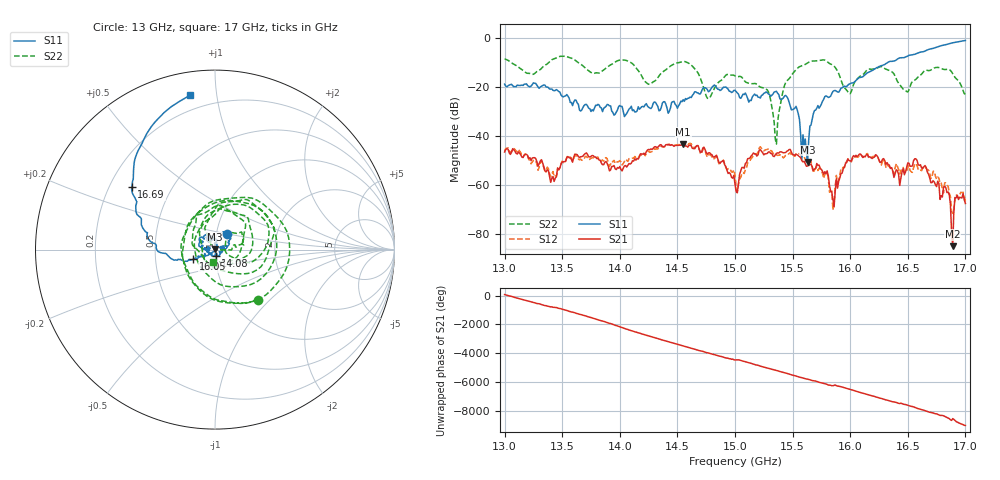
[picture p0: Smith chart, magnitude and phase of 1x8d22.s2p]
!Keysight Technologies,P9374A,MY57211807,A.19.30.04
!Date: Friday, May 08, 2026 15:18:49
!Correction: S11(C  2-Port  )
!S21(C  2-Port  )
!S12(C  2-Port  )
!S22(C  2-Port  )
!S2P File: Measurements: S11, S21, S12, S22:
# Hz S  dB  R 50
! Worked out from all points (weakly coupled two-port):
!   401 points, 13 GHz to 17 GHz, reference 50 ohm
!   highest |S21| = -43.42 dB at 14.55 GHz (marker M1); lowest = -85.0 dB at 16.89 GHz (marker M2)
!   lowest |S11| = -50.7 dB at 15.63 GHz (marker M3), VSWR 1.01, Z = 49.7 + j0.144 ohm
!   |S11| at or under -10 dB: start of sweep to 16.33 GHz
!   |S22| runs from -43.4 to -7.6 dB; largest |S21 - S12| = 0.001
!   S11 on the Smith chart (normalised r, x): 13 GHz: 1.13, +0.20; 14.08 GHz: 1.00, -0.07; 16.05 GHz: 0.78, -0.09; 16.69 GHz: 0.29, +0.31; 17 GHz: 0.12, +0.85
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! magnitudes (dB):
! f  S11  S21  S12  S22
! 13 GHz  -19.0  -46.7  -46.4  -8.7
! 13.42 GHz  -21.5  -56.6  -54.6  -8.8
! 13.67 GHz  -29.5  -48.5  -50.0  -11.2
! 14.08 GHz  -29.2  -51.4  -49.4  -9.8
! 14.34 GHz  -29.9  -44.2  -45.0  -15.7
! 14.55 GHz  -25.3  -43.4  -42.9  -9.8
! 14.77 GHz  -22.1  -47.0  -47.8  -24.9
! 15 GHz  -21.5  -59.8  -56.0  -15.6
! 15.27 GHz  -22.2  -47.4  -45.7  -21.0
! 15.36 GHz  -21.9  -47.2  -47.7  -43.4
! 15.44 GHz  -23.6  -46.8  -48.0  -18.3
! 15.63 GHz  -50.7  -52.3  -50.8  -10.4
! 15.67 GHz  -33.3  -52.6  -53.0  -9.6
! 15.84 GHz  -22.9  -63.0  -62.5  -11.0
! 15.98 GHz  -19.4  -49.5  -49.5  -22.1
! 16.05 GHz  -17.5  -48.0  -48.5  -17.4
! 16.34 GHz  -9.8  -52.0  -52.6  -13.4
! 16.49 GHz  -7.7  -53.0  -54.4  -22.0
! 16.69 GHz  -4.7  -57.2  -55.4  -13.5
! 16.84 GHz  -2.8  -63.2  -60.0  -13.0
! 16.89 GHz  -2.1  -85.0  -71.7  -14.7
! 17 GHz  -1.2  -67.6  -66.8  -23.2
